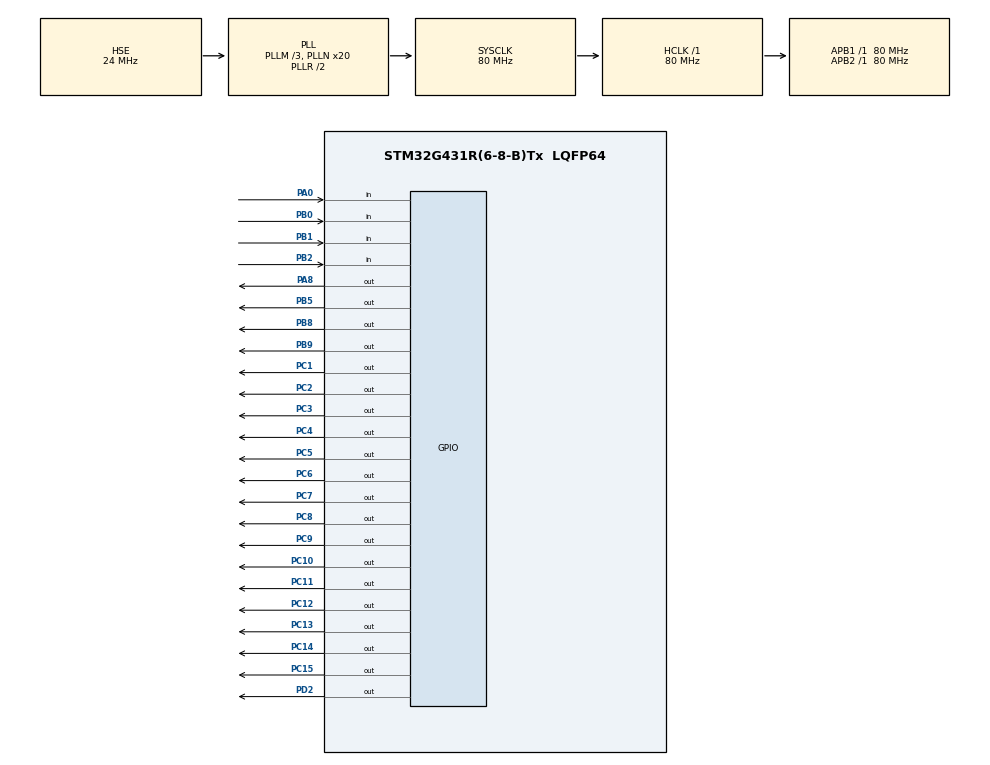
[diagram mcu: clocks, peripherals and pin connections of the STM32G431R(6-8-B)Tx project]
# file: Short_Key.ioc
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Mcu.Family=STM32G4
Mcu.Name=STM32G431R(6-8-B)Tx
Mcu.Package=LQFP64
NVIC.PriorityGroup=NVIC_PRIORITYGROUP_4
NVIC.TIM3_IRQn=true\:0\:0\:false\:false\:true\:true\:true\:true
PA0.GPIO_PuPd=GPIO_PULLUP
PA0.Signal=GPIO_Input
PA13.Mode=Serial_Wire
PA13.Signal=SYS_JTMS-SWDIO
PA14.Mode=Serial_Wire
PA14.Signal=SYS_JTCK-SWCLK
PA8.Signal=GPIO_Output
PB0.GPIO_PuPd=GPIO_PULLUP
PB0.Signal=GPIO_Input
PB1.GPIO_PuPd=GPIO_PULLUP
PB1.Signal=GPIO_Input
PB2.GPIO_PuPd=GPIO_PULLUP
PB2.Signal=GPIO_Input
PB5.Signal=GPIO_Output
PB8-BOOT0.Signal=GPIO_Output
PB9.Signal=GPIO_Output
PC1.Signal=GPIO_Output
PC10.PinState=GPIO_PIN_SET
PC10.Signal=GPIO_Output
PC11.PinState=GPIO_PIN_SET
PC11.Signal=GPIO_Output
PC12.PinState=GPIO_PIN_SET
PC12.Signal=GPIO_Output
PC13.PinState=GPIO_PIN_SET
PC13.Signal=GPIO_Output
PC14-OSC32_IN.PinState=GPIO_PIN_SET
PC14-OSC32_IN.Signal=GPIO_Output
PC15-OSC32_OUT.PinState=GPIO_PIN_SET
PC15-OSC32_OUT.Signal=GPIO_Output
PC2.Signal=GPIO_Output
PC3.Signal=GPIO_Output
PC4.Signal=GPIO_Output
PC5.Signal=GPIO_Output
PC6.Signal=GPIO_Output
PC7.Signal=GPIO_Output
PC8.PinState=GPIO_PIN_SET
PC8.Signal=GPIO_Output
PC9.PinState=GPIO_PIN_SET
PC9.Signal=GPIO_Output
PD2.Signal=GPIO_Output
PF0-OSC_IN.Mode=HSE-External-Oscillator
PF0-OSC_IN.Signal=RCC_OSC_IN
PF1-OSC_OUT.Mode=HSE-External-Oscillator
PF1-OSC_OUT.Signal=RCC_OSC_OUT
ProjectManager.HeapSize=0x200
ProjectManager.StackSize=0x400
ProjectManager.TargetToolchain=MDK-ARM V5.32
RCC.ADC12Freq_Value=80000000
RCC.AHBFreq_Value=80000000
RCC.APB1Freq_Value=80000000
RCC.APB1TimFreq_Value=80000000
RCC.APB2Freq_Value=80000000
RCC.APB2TimFreq_Value=80000000
RCC.CortexFreq_Value=80000000
RCC.EXTERNAL_CLOCK_VALUE=12288000
RCC.HCLKFreq_Value=80000000
RCC.HSE_VALUE=24000000
RCC.HSI48_VALUE=48000000
RCC.HSI_VALUE=16000000
RCC.LSE_VALUE=32768
RCC.PLLM=RCC_PLLM_DIV3
RCC.PLLN=20
RCC.PLLSourceVirtual=RCC_PLLSOURCE_HSE
RCC.SYSCLKFreq_VALUE=80000000
RCC.SYSCLKSource=RCC_SYSCLKSOURCE_PLLCLK
RCC.USBFreq_Value=80000000
RCC.VCOOutputFreq_Value=160000000
TIM3.PeriodNoDither=10000-1
TIM3.Prescaler=80-1
VP_SYS_VS_DBSignals.Mode=DisableDeadBatterySignals
VP_TIM3_VS_ClockSourceINT.Mode=Internal
board=custom

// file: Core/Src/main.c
/* USER CODE BEGIN Header */
/**
  ******************************************************************************
  * @file           : main.c
  * @brief          : Main program body
  ******************************************************************************
  * @attention
  *
  * Copyright (c) 2023 STMicroelectronics.
  * All rights reserved.
  *
  * This software is licensed under terms that can be found in the LICENSE file
  * in the root directory of this software component.
  * If no LICENSE file comes with this software, it is provided AS-IS.
  *
  ******************************************************************************
  */
/* USER CODE END Header */
#include "main.h"
#include "tim.h"
#include "gpio.h"

/* USER CODE BEGIN Includes */
#include "led.h"
#include "lcd.h"
#include "stdio.h"
#include "interrupt.h"
/* USER CODE END Includes */

/* USER CODE BEGIN PTD */
extern struct keys key[];//在main函数引用interrupt.c文件里的struct keys key变量

uchar view=0;//默认在第一个界面

void key_proc(void);
void disp_proc(void);
/* USER CODE END PTD */

void SystemClock_Config(void);

int main(void)
{

  /* MCU Configuration--------------------------------------------------------*/

  /* Reset of all peripherals, Initializes the Flash interface and the Systick. */
  HAL_Init();

  /* Configure the system clock */
  SystemClock_Config();

  /* Initialize all configured peripherals */
  MX_GPIO_Init();
  MX_TIM3_Init();
  /* USER CODE BEGIN 2 */
    LED_Disp(0x00);//LED的初始化，即让所有led灭
    LCD_Init();//LCD屏的初始化

	LCD_Clear(Black);//把屏幕清空，清成黑色
	LCD_SetBackColor(Black);//设置背景色
	LCD_SetTextColor(White);//设置文本颜色(前景色)

	HAL_TIM_Base_Start_IT(&htim3);//开启定时器3的中断
  /* USER CODE END 2 */

  /* Infinite loop */
  while (1)
  {

    /* USER CODE BEGIN 3 */
      LED_Disp(0x01);
      HAL_Delay(500);//延时500ms
      LED_Disp(0x00);
      HAL_Delay(500);//延时500ms

    key_proc();
      disp_proc();

  }
  /* USER CODE END 3 */
}

void SystemClock_Config(void)
{
  RCC_OscInitTypeDef RCC_OscInitStruct = {0};
  RCC_ClkInitTypeDef RCC_ClkInitStruct = {0};

  /** Configure the main internal regulator output voltage
  */
  HAL_PWREx_ControlVoltageScaling(PWR_REGULATOR_VOLTAGE_SCALE1);

  /** Initializes the RCC Oscillators according to the specified parameters
  * in the RCC_OscInitTypeDef structure.
  */
  RCC_OscInitStruct.OscillatorType = RCC_OSCILLATORTYPE_HSE;
  RCC_OscInitStruct.HSEState = RCC_HSE_ON;
  RCC_OscInitStruct.PLL.PLLState = RCC_PLL_ON;
  RCC_OscInitStruct.PLL.PLLSource = RCC_PLLSOURCE_HSE;
  RCC_OscInitStruct.PLL.PLLM = RCC_PLLM_DIV3;
  RCC_OscInitStruct.PLL.PLLN = 20;
  RCC_OscInitStruct.PLL.PLLP = RCC_PLLP_DIV2;
  RCC_OscInitStruct.PLL.PLLQ = RCC_PLLQ_DIV2;
  RCC_OscInitStruct.PLL.PLLR = RCC_PLLR_DIV2;
  if (HAL_RCC_OscConfig(&RCC_OscInitStruct) != HAL_OK)
  {
    Error_Handler();
  }

  /** Initializes the CPU, AHB and APB buses clocks
  */
  RCC_ClkInitStruct.ClockType = RCC_CLOCKTYPE_HCLK|RCC_CLOCKTYPE_SYSCLK
                              |RCC_CLOCKTYPE_PCLK1|RCC_CLOCKTYPE_PCLK2;
  RCC_ClkInitStruct.SYSCLKSource = RCC_SYSCLKSOURCE_PLLCLK;
  RCC_ClkInitStruct.AHBCLKDivider = RCC_SYSCLK_DIV1;
  RCC_ClkInitStruct.APB1CLKDivider = RCC_HCLK_DIV1;
  RCC_ClkInitStruct.APB2CLKDivider = RCC_HCLK_DIV1;

  if (HAL_RCC_ClockConfig(&RCC_ClkInitStruct, FLASH_LATENCY_2) != HAL_OK)
  {
    Error_Handler();
  }
}

/* USER CODE BEGIN 4 */
//按键
void key_proc(void){
      if(key[0].single_flag==1){//第一个按键被按下
          view=!view;
      LCD_Clear(Black);//切换界面时要进行清屏操作，避免上一界面残留
      key[0].single_flag=0;//将按下标志位清0，避免被重复执行

      }
}

//LCD屏显示
void disp_proc(void){
    if(view==0){
      char text[30];//字符数组
      sprintf(text,"      Data       ");
      LCD_DisplayStringLine(Line1, (uint8_t *)text);//将text里面的数据打印到第九行
    }
    if(view==1){
      char text[30];//字符数组
      sprintf(text,"      Para       ");
      LCD_DisplayStringLine(Line1, (uint8_t *)text);//将text里面的数据打印到第九行
    }
}

/* USER CODE END 4 */

void Error_Handler(void)
{
  __disable_irq();
  while (1)
  {
  }
}
